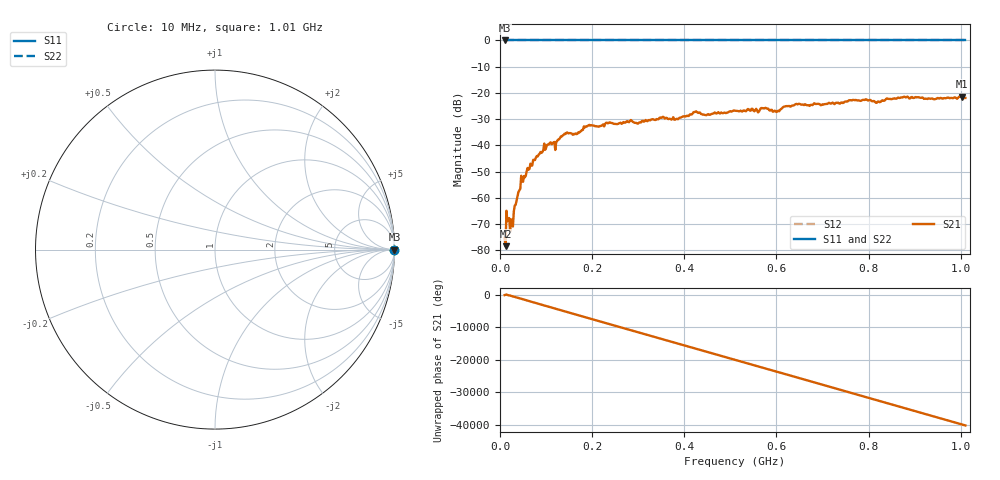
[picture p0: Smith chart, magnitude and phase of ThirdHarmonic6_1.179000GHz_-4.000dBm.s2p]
! 8/16/2025 12:01:00 PM
! C:\ANRITSUVNA\TEMP\TEMP.S2P
! CHANNEL.1
! TR.MEASUREMENT
! RAW.DATA
! RF.CORRECTION.OFF
! AVERAGING.OFF
! IF.BANDWIDTH: 5KHZ
! SWEEPTYPE:  FREQ.SWEEP(Linear)
! Reference Plane Port Info
! PORT:  PORT1  PORT2
! DISTANCE:  0  m  0  m
! TIME:  0  s  0  s
! PHASE.OFFSET:  0  deg.  0  deg.
! LOSS:  0  dB  0  dB
! REF.LOSS:  0  dB  0  dB
! REF.FREQ:  0  Hz  0  Hz
! Power Info
! POWER:  -20  dBm  -20  dBm
! EFF.POWER:  -20  dBm  -20  dBm
! SOURCE.ATTEN:  0  dB  0  dB
! TEST.ATTEN:  0  dB  0  dB
# GHZ S RI R 50.0
! FREQ.GHZ  S11RE  S11IM  S21RE  S21IM  S12RE  S12IM  S22RE  S22IM
!; PortSelection: Port_12
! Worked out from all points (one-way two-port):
!   501 points, 10 MHz to 1.01 GHz, reference 50 ohm
!   highest |S21| = -21.36 dB at 1.002 GHz (marker M1); lowest = -78.4 dB at 12 MHz (marker M2)
!   lowest |S11| = 0.0 dB at 10 MHz (marker M3)
!   |S11| at or under -10 dB: nowhere
!   |S22| runs from 0.0 to 0.0 dB; largest |S21 - S12| = 1.1
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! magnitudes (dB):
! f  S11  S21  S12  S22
! 10 MHz  0.0  -75.2  0.0  0.0
! 12 MHz  0.0  -78.4  0.0  0.0
! 18 MHz  0.0  -68.2  0.0  0.0
! 26 MHz  0.0  -68.3  0.0  0.0
! 42 MHz  0.0  -57.1  0.0  0.0
! 50 MHz  0.0  -53.9  0.0  0.0
! 76 MHz  0.0  -45.5  0.0  0.0
! 106 MHz  0.0  -39.7  0.0  0.0
! 124 MHz  0.0  -38.3  0.0  0.0
! 142 MHz  0.0  -35.7  0.0  0.0
! 178 MHz  0.0  -34.1  0.0  0.0
! 194 MHz  0.0  -32.2  0.0  0.0
! 344 MHz  0.0  -30.0  0.0  0.0
! 424 MHz  0.0  -27.2  0.0  0.0
! 510 MHz  0.0  -26.8  0.0  0.0
! 572 MHz  0.0  -25.8  0.0  0.0
! 602 MHz  0.0  -27.0  0.0  0.0
! 644 MHz  0.0  -24.2  0.0  0.0
! 678 MHz  0.0  -24.7  0.0  0.0
! 844 MHz  0.0  -22.3  0.0  0.0
! 1.002 GHz  0.0  -21.4  0.0  0.0
! 1.01 GHz  0.0  -21.9  0.0  0.0
